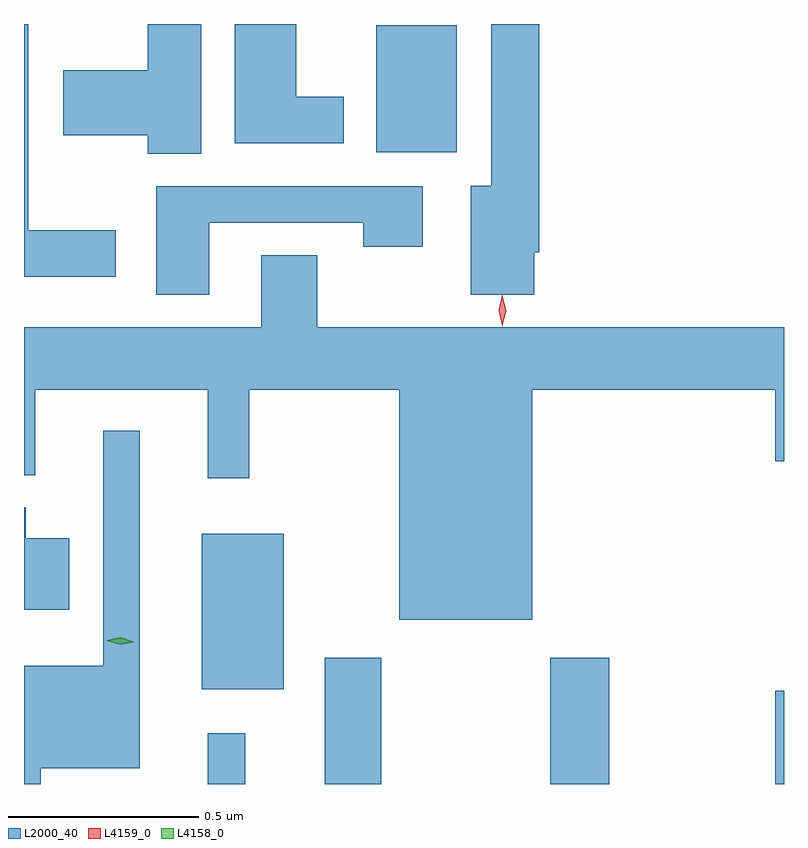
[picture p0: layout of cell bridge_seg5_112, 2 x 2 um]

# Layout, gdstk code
import gdstk
lib = gdstk.Library(unit=1e-6, precision=1e-09)
def R(c, l, rs):  # rectangles x0, y0, x1, y1
    for r in rs: c.add(gdstk.rectangle(r[:2], r[2:], *l))
def P(c, l, *ps):  # polygons
    for p in ps: c.add(gdstk.Polygon(p, *l))
L2000_40 = (2000, 40)
L4158_0 = (4158, 0)
L4159_0 = (4159, 0)

bridge_seg5_112 = lib.new_cell('bridge_seg5_112')
R(bridge_seg5_112, L2000_40, [(403.274,903.674,403.373,903.808), (403.583,903.674,403.731,904.006), (404.176,903.674,404.331,904.006), (404.768,903.674,404.791,903.919), (403.259,903.923,403.474,904.333), (403.718,905.336,403.93,905.671)])
P(bridge_seg5_112, L2000_40, [(403.633,905.482),(403.507,905.482),(403.507,905.674),(403.346,905.674),(403.346,905.36),(403.633,905.36)],
  [(403.033,905.131),(402.802,905.131),(402.802,905.674),(402.791,905.674),(402.791,905.009),(403.033,905.009)],
  [(404.134,905.074),(404.147,905.074),(404.147,905.674),(404.021,905.674),(404.021,905.248),(403.967,905.248),(403.967,904.962),(404.134,904.962)],
  [(403.258,905.674),(403.117,905.674),(403.117,905.552),(402.894,905.552),(402.894,905.381),(403.117,905.381),(403.117,905.332),(403.258,905.332)],
  [(403.279,905.151),(403.684,905.151),(403.684,905.088),(403.84,905.088),(403.84,905.247),(403.139,905.247),(403.139,904.962),(403.279,904.962)],
  [(402.791,904.487),(402.821,904.487),(402.821,904.712),(403.274,904.712),(403.274,904.479),(403.384,904.479),(403.384,904.712),(403.778,904.712),(403.778,904.106),(404.128,904.106),(404.128,904.712),(404.768,904.712),(404.768,904.524),(404.791,904.524),(404.791,904.876),(403.563,904.876),(403.563,905.066),(403.415,905.066),(403.415,904.876),(402.791,904.876)],
  [(402.835,903.716),(403.096,903.716),(403.096,904.603),(402.999,904.603),(402.999,903.985),(402.791,903.985),(402.791,903.674),(402.835,903.674)],
  [(402.91,904.321),(402.796,904.321),(402.796,904.402),(402.791,904.402),(402.791,904.133),(402.91,904.133)])
P(bridge_seg5_112, L4158_0, [(403.044,904.04),(403.009,904.051),(403.009,904.052),(403.009,904.052),(403.045,904.06),(403.08,904.048),(403.08,904.047),(403.08,904.047)])
P(bridge_seg5_112, L4159_0, [(404.049,904.88),(404.04,904.921),(404.05,904.961),(404.05,904.961),(404.05,904.961),(404.06,904.92),(404.05,904.88),(404.05,904.88)])

lib.write_gds('bridge_seg5_112.gds')
